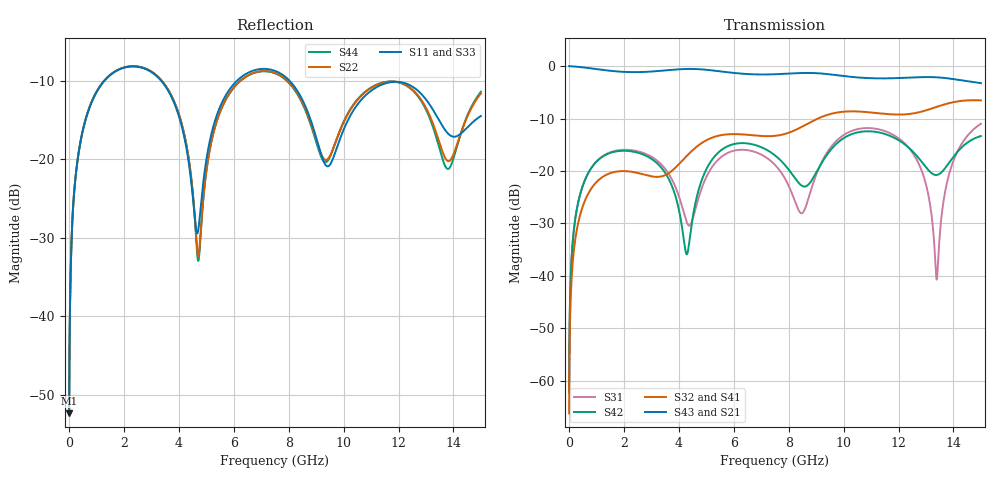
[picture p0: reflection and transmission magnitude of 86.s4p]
! Created with skrf 1.8.0 (http://scikit-rf.org).
# GHz S RI R 50.0
!freq ReS11 ImS11 ReS12 ImS12 ReS13 ImS13
! ReS14 ImS14
! ReS21 ImS21 ReS22 ImS22 ReS23 ImS23
! ReS24 ImS24
! ReS31 ImS31 ReS32 ImS32 ReS33 ImS33
! ReS34 ImS34
! ReS41 ImS41 ReS42 ImS42 ReS43 ImS43
! ReS44 ImS44
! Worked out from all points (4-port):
!   2499 points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, 5 MHz to 15 GHz, reference 50 ohm
!   strongest paths, dB at 5 MHz, 3.476 GHz, 7.19 GHz, 11.1 GHz, 15 GHz:
!     S43: 0.0, -0.8, -1.6, -2.3, -3.2
!     S21: 0.0, -0.8, -1.6, -2.3, -3.2
!     S32: -66.2, -20.9, -13.4, -8.9, -6.5
!     S41: -66.2, -20.9, -13.4, -8.9, -6.6
!     S42: -62.2, -20.2, -15.9, -12.5, -13.4
!     S31: -62.2, -19.4, -17.5, -11.9, -11.0
!   lowest |S11| = -52.4 dB at 5 MHz (marker M1), VSWR 1.00, Z = 50.2 + j0.146 ohm
!   |S11| at or under -10 dB: start of sweep to 1.28 GHz; 3.366 GHz to 6.107 GHz (2.74 GHz wide, 57.9 % of centre); 8.041 GHz to end of sweep
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0.005  0.00191 0.00145  0.9981 -0.00372  9.73e-05 0.000767  -9.43e-05 -0.00048
       0.9981 -0.00372  0.00191 0.00145  -9.43e-05 -0.00048  9.72e-05 0.000767
       9.73e-05 0.000767  -9.43e-05 -0.00048  0.00191 0.00145  0.9981 -0.00372
       -9.43e-05 -0.00048  9.72e-05 0.000767  0.9981 -0.00372  0.00191 0.00145
1.3193  0.2675 0.1791  0.5538 -0.7259  0.1304 0.0593  -0.0904 -0.0071
        0.5538 -0.7259  0.2691 0.1781  -0.0905 -0.00698  0.1254 0.066
        0.1304 0.0593  -0.0905 -0.00698  0.2675 0.1791  0.5538 -0.7258
        -0.0904 -0.0071  0.1254 0.066  0.5538 -0.7258  0.2692 0.178
4.545909  0.0357 -0.034  -0.9251 -0.1581  -0.0277 0.0258  -0.0251 0.1595
          -0.9251 -0.1581  0.0268 -0.0442  -0.023 0.1598  0.0202 0.0361
          -0.0277 0.0258  -0.023 0.1598  0.0371 -0.034  -0.925 -0.1584
          -0.0251 0.1595  0.0202 0.0361  -0.925 -0.1584  0.0255 -0.0445
7.234264  0.3757 -0.0307  -0.0128 0.831  0.1146 -0.0646  0.2082 -0.0482
          -0.0128 0.831  0.3653 -0.0173  0.2081 -0.0526  0.1188 -0.1029
          0.1146 -0.0646  0.2081 -0.0526  0.3729 -0.0311  -0.0132 0.832
          0.2082 -0.0482  0.1188 -0.1029  -0.0132 0.832  0.3635 -0.0167
9.704043  0.1062 0.0346  0.8206 -0.0481  0.0625 0.1788  -0.0386 -0.3564
          0.8206 -0.0481  0.12 0.0447  -0.0469 -0.3554  0.0321 0.175
          0.0625 0.1788  -0.0469 -0.3554  0.1074 0.0355  0.8206 -0.0479
          -0.0386 -0.3564  0.0321 0.175  0.8206 -0.0479  0.1185 0.0496
13.39308  0.1632 -0.0947  -0.5792 -0.5229  -0.00919 -0.000686  -0.2724 0.3045
          -0.5792 -0.5229  0.1219 -0.0774  -0.2603 0.315  -0.0848 -0.0347
          -0.00919 -0.000686  -0.2603 0.315  0.1624 -0.0864  -0.5795 -0.5242
          -0.2724 0.3045  -0.0848 -0.0347  -0.5795 -0.5242  0.1121 -0.075
15  0.1887 0.0126  -0.6544 0.2167  0.2556 0.1186  0.204 0.4231
    -0.6544 0.2167  0.2379 0.1133  0.2204 0.4166  0.0928 0.194
    0.2556 0.1186  0.2204 0.4166  0.1907 0.0163  -0.6535 0.2148
    0.204 0.4231  0.0928 0.194  -0.6535 0.2148  0.2375 0.1288
